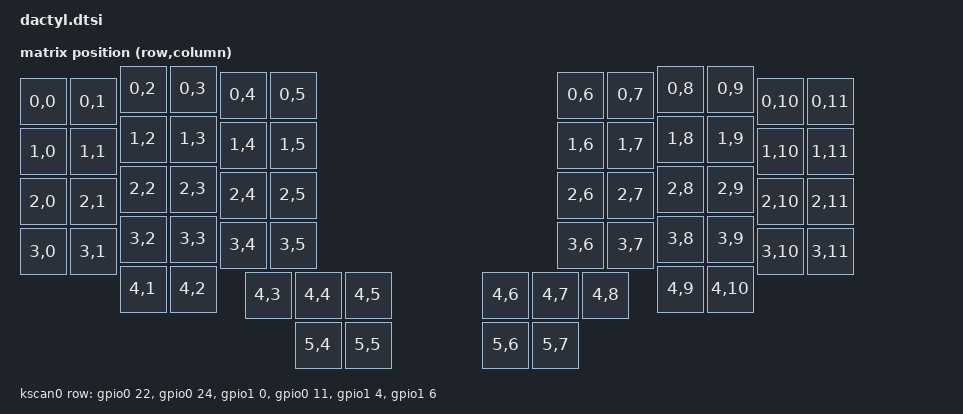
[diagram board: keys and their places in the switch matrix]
/*
 * Copyright (c) 2020 Noir Guo
 *
 * SPDX-License-Identifier: MIT
 */

#include <dt-bindings/zmk/matrix_transform.h>
#include <physical_layouts.dtsi>


/ {
    dactyl_layout: dactyl_layout {
        compatible = "zmk,physical-layout";
        display-name = "dactyl";

	kscan = <&kscan0>;
        transform = <&matrix_transform0>;
 
        keys  //                     w   h    x    y     rot    rx    ry
            = <&key_physical_attrs 100 100    0   25       0     0     0>
            , <&key_physical_attrs 100 100  100   25       0     0     0>
            , <&key_physical_attrs 100 100  200    0       0     0     0>
            , <&key_physical_attrs 100 100  300    0       0     0     0>
            , <&key_physical_attrs 100 100  400   12       0     0     0>
            , <&key_physical_attrs 100 100  500   12       0     0     0>
            , <&key_physical_attrs 100 100 1075   12       0     0     0>
            , <&key_physical_attrs 100 100 1175   12       0     0     0>
            , <&key_physical_attrs 100 100 1275    0       0     0     0>
            , <&key_physical_attrs 100 100 1375    0       0     0     0>
            , <&key_physical_attrs 100 100 1475   25       0     0     0>
            , <&key_physical_attrs 100 100 1575   25       0     0     0>
            , <&key_physical_attrs 100 100    0  125       0     0     0>
            , <&key_physical_attrs 100 100  100  125       0     0     0>
            , <&key_physical_attrs 100 100  200  100       0     0     0>
            , <&key_physical_attrs 100 100  300  100       0     0     0>
            , <&key_physical_attrs 100 100  400  112       0     0     0>
            , <&key_physical_attrs 100 100  500  112       0     0     0>
            , <&key_physical_attrs 100 100 1075  112       0     0     0>
            , <&key_physical_attrs 100 100 1175  112       0     0     0>
            , <&key_physical_attrs 100 100 1275  100       0     0     0>
            , <&key_physical_attrs 100 100 1375  100       0     0     0>
            , <&key_physical_attrs 100 100 1475  125       0     0     0>
            , <&key_physical_attrs 100 100 1575  125       0     0     0>
            , <&key_physical_attrs 100 100    0  225       0     0     0>
            , <&key_physical_attrs 100 100  100  225       0     0     0>
            , <&key_physical_attrs 100 100  200  200       0     0     0>
            , <&key_physical_attrs 100 100  300  200       0     0     0>
            , <&key_physical_attrs 100 100  400  212       0     0     0>
            , <&key_physical_attrs 100 100  500  212       0     0     0>
            , <&key_physical_attrs 100 100 1075  212       0     0     0>
            , <&key_physical_attrs 100 100 1175  212       0     0     0>
            , <&key_physical_attrs 100 100 1275  200       0     0     0>
            , <&key_physical_attrs 100 100 1375  200       0     0     0>
            , <&key_physical_attrs 100 100 1475  225       0     0     0>
            , <&key_physical_attrs 100 100 1575  225       0     0     0>
            , <&key_physical_attrs 100 100    0  325       0     0     0>
            , <&key_physical_attrs 100 100  100  325       0     0     0>
            , <&key_physical_attrs 100 100  200  300       0     0     0>
            , <&key_physical_attrs 100 100  300  300       0     0     0>
            , <&key_physical_attrs 100 100  400  312       0     0     0>
            , <&key_physical_attrs 100 100  500  312       0     0     0>
            , <&key_physical_attrs 100 100 1075  312       0     0     0>
            , <&key_physical_attrs 100 100 1175  312       0     0     0>
            , <&key_physical_attrs 100 100 1275  300       0     0     0>
            , <&key_physical_attrs 100 100 1375  300       0     0     0>
            , <&key_physical_attrs 100 100 1475  325       0     0     0>
            , <&key_physical_attrs 100 100 1575  325       0     0     0>
            , <&key_physical_attrs 100 100  200  400       0     0     0>
            , <&key_physical_attrs 100 100  300  400       0     0     0>
            , <&key_physical_attrs 100 100  450  412       0     0     0>
            , <&key_physical_attrs 100 100  550  412       0     0     0>
            , <&key_physical_attrs 100 100  650  412       0     0     0>
            , <&key_physical_attrs 100 100  925  412       0     0     0>
            , <&key_physical_attrs 100 100 1025  412       0     0     0>
            , <&key_physical_attrs 100 100 1125  412       0     0     0>
            , <&key_physical_attrs 100 100 1275  400       0     0     0>
            , <&key_physical_attrs 100 100 1375  400       0     0     0>
            , <&key_physical_attrs 100 100  550  512       0     0     0>
            , <&key_physical_attrs 100 100  650  512       0     0     0>
            , <&key_physical_attrs 100 100  925  512       0     0     0>
            , <&key_physical_attrs 100 100 1025  512       0     0     0>
            ;
    };
};


/ {
    chosen {
        zmk,kscan = &kscan0;
        zmk,physical-layouts = &dactyl_layout;
    };

    default_transform: keymap_transform_0 {
        compatible = "zmk,matrix-transform";
        columns = <12>;
        rows = <6>;

        map = <
   RC(0,0) RC(0,1) RC(0,2) RC(0,3) RC(0,4) RC(0,5)                   RC(0,6) RC(0,7) RC(0,8) RC(0,9) RC(0,10) RC(0,11)
   RC(1,0) RC(1,1) RC(1,2) RC(1,3) RC(1,4) RC(1,5)                   RC(1,6) RC(1,7) RC(1,8) RC(1,9) RC(1,10) RC(1,11)
   RC(2,0) RC(2,1) RC(2,2) RC(2,3) RC(2,4) RC(2,5)                   RC(2,6) RC(2,7) RC(2,8) RC(2,9) RC(2,10) RC(2,11)
   RC(3,0) RC(3,1) RC(3,2) RC(3,3) RC(3,4) RC(3,5)                   RC(3,6) RC(3,7) RC(3,8) RC(3,9) RC(3,10) RC(3,11)
                   RC(4,1) RC(4,2) RC(4,3) RC(4,4) RC(4,5)   RC(4,6) RC(4,7) RC(4,8) RC(4,9) RC(4,10)
                                           RC(5,4) RC(5,5)   RC(5,6) RC(5,7)

        >;
    };

    kscan0: kscan {
        compatible = "zmk,kscan-gpio-matrix";
        diode-direction = "row2col";
        wakeup-source;

        row-gpios
            = <&gpio0 22 (GPIO_ACTIVE_HIGH)>
            , <&gpio0 24 (GPIO_ACTIVE_HIGH)>
            , <&gpio1 0 (GPIO_ACTIVE_HIGH)>
            , <&gpio0 11 (GPIO_ACTIVE_HIGH)>
            , <&gpio1 4 (GPIO_ACTIVE_HIGH)>
            , <&gpio1 6 (GPIO_ACTIVE_HIGH)>
        ;

    };

};

&dactyl_layout{
	transform = <&default_transform>;
	kscan = <&kscan0>;
};

zephyr_udc0: &usbd { 
        compatible = "nordic,nrf-usbd"; 
        status = "okay"; 
};
